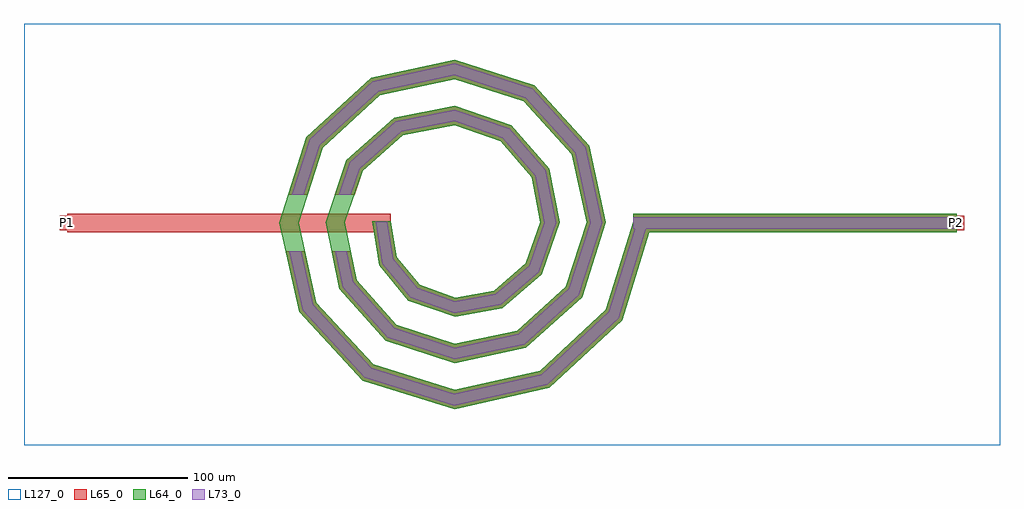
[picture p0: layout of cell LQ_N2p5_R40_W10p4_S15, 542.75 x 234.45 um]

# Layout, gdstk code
import gdstk
lib = gdstk.Library(unit=1e-6, precision=1e-09)
def R(c, l, rs):  # rectangles x0, y0, x1, y1
    for r in rs: c.add(gdstk.rectangle(r[:2], r[2:], *l))
def P(c, l, *ps):  # polygons
    for p in ps: c.add(gdstk.Polygon(p, *l))
L64_0 = (64, 0)
L65_0 = (65, 0)
L73_0 = (73, 0)
L127_0 = (127, 0)

lq_n2p5_r40_w10p4_s15 = lib.new_cell('LQ_N2p5_R40_W10p4_S15')
R(lq_n2p5_r40_w10p4_s15, L64_0, [(99.493,-5.2,279.493,5.2)])
P(lq_n2p5_r40_w10p4_s15, L64_0, [(-31.998,-19.055),(-19.274,-34.342),(0.458,-41.518),(22.208,-37.589),(39.871,-22.535),(47.937,0.403),(43.174,25.374),(25.786,45.408),(0.36,54.358),(-28.55,48.755),(-50.95,29.029),(-60.779,0.325),(-54.333,-31.732),(-32.266,-56.496),(0.296,-67.201),(34.92,-59.908),(62.045,-35.499),(73.623,0.272),(65.481,38.111),(38.729,67.596),(0.252,80.045),(-41.306,71.052),(-73.149,41.956),(-86.468,0.234),(-76.623,-44.502),(-45.181,-78.703),(0.219,-92.89),(47.701,-82.192),(84.258,-48.404),(99.726,1.538),(109.66,-1.538),(93.367,-54.148),(52.71,-91.724),(0.219,-103.65),(-50.948,-87.797),(-86.169,-49.485),(-97.226,0.234),(-82.226,47.75),(-46.259,80.614),(0.252,90.802),(44.554,76.653),(75.06,43.03),(84.378,0.272),(71.079,-41.36),(39.798,-69.508),(0.296,-77.954),(-38.17,-65.503),(-63.958,-36.563),(-71.529,0.325),(-59.923,34.984),(-33.322,58.41),(0.36,65.104),(31.804,54.34),(52.865,30.075),(58.678,0.403),(48.752,-28.631),(26.818,-47.325),(0.458,-52.251),(-25.469,-43.155),(-41.791,-23.547),(-45.59,0.859),(-35.332,0.859)])
R(lq_n2p5_r40_w10p4_s15, L65_0, [(-215.261,-5.2,-35.261,5.2), (99.493,-5.2,279.493,5.2), (-219.261,-4,-211.261,4), (275.493,-4,283.493,4)])
P(lq_n2p5_r40_w10p4_s15, L65_0, [(-76.623,-44.502),(-45.181,-78.703),(0.219,-92.89),(47.701,-82.192),(84.258,-48.405),(99.726,1.538),(109.66,-1.538),(93.367,-54.148),(52.71,-91.725),(0.219,-103.65),(-50.948,-87.797),(-86.169,-49.486),(-93.705,-15.6),(-83.05,-15.6)],
  [(-54.333,-31.732),(-32.266,-56.496),(0.296,-67.201),(34.92,-59.908),(62.045,-35.499),(73.623,0.272),(65.481,38.111),(38.729,67.596),(0.252,80.045),(-41.306,71.052),(-73.149,41.956),(-81.469,15.6),(-92.375,15.6),(-82.226,47.75),(-46.259,80.614),(0.252,90.802),(44.554,76.653),(75.06,43.03),(84.378,0.272),(71.079,-41.36),(39.799,-69.508),(0.296,-77.954),(-38.17,-65.503),(-63.958,-36.563),(-68.26,-15.6),(-57.644,-15.6)],
  [(-19.274,-34.342),(0.458,-41.518),(22.208,-37.589),(39.871,-22.535),(47.937,0.403),(43.174,25.374),(25.786,45.408),(0.36,54.358),(-28.55,48.755),(-50.95,29.029),(-55.447,15.6),(-66.414,15.6),(-59.923,34.984),(-33.322,58.41),(0.36,65.104),(31.804,54.34),(52.865,30.075),(58.678,0.403),(48.752,-28.631),(26.818,-47.325),(0.458,-52.251),(-25.469,-43.156),(-41.791,-23.547),(-45.59,0.859),(-35.333,0.859),(-31.998,-19.055)])
R(lq_n2p5_r40_w10p4_s15, L73_0, [(99.493,-3.2,279.493,3.2)])
P(lq_n2p5_r40_w10p4_s15, L73_0, [(-78.459,-45.461),(-46.29,-80.452),(0.135,-94.959),(48.664,-84.026),(86.01,-49.509),(101.636,0.947),(107.75,0.947),(91.615,-53.043),(51.747,-89.891),(0.135,-101.58),(-49.839,-86.048),(-84.333,-48.527),(-91.656,-15.6),(-85.099,-15.6)],
  [(-56.184,-32.661),(-33.401,-58.228),(0.182,-69.269),(35.858,-61.754),(63.782,-36.626),(75.691,0.167),(67.323,39.057),(39.849,69.338),(0.155,82.114),(-42.258,72.891),(-74.895,43.07),(-83.566,15.6),(-90.278,15.6),(-80.48,46.636),(-45.306,78.775),(0.155,88.733),(43.434,74.912),(73.218,42.084),(82.31,0.167),(69.342,-40.233),(38.86,-67.662),(0.182,-75.886),(-37.035,-63.771),(-62.107,-35.634),(-66.219,-15.6),(-59.685,-15.6)],
  [(-20.465,-36.037),(0.282,-43.582),(23.094,-39.462),(41.579,-23.708),(50.003,0.248),(45.038,26.278),(26.943,47.126),(0.221,56.424),(-29.467,50.612),(-52.676,30.174),(-57.556,15.6),(-64.305,15.6),(-58.198,33.839),(-32.404,56.553),(0.221,63.037),(30.647,52.623),(51.002,29.171),(56.612,0.248),(47.044,-27.459),(25.931,-45.453),(0.282,-50.187),(-24.278,-41.461),(-39.908,-22.683),(-43.617,0.528),(-37.305,0.528),(-33.881,-19.919)])
R(lq_n2p5_r40_w10p4_s15, L127_0, [(-239.261,-123.65,303.493,110.802)])
lq_n2p5_r40_w10p4_s15.add(gdstk.Label('P2', (279.493,0), layer=65, texttype=0))
lq_n2p5_r40_w10p4_s15.add(gdstk.Label('P1', (-215.261,0), layer=65, texttype=0))
lq_n2p5_r40_w10p4_s15.add(gdstk.Label('P2', (283.493,0), layer=145, texttype=0))
lq_n2p5_r40_w10p4_s15.add(gdstk.Label('P1', (-219.261,0), layer=145, texttype=0))

lib.write_gds('LQ_N2p5_R40_W10p4_S15.gds')
